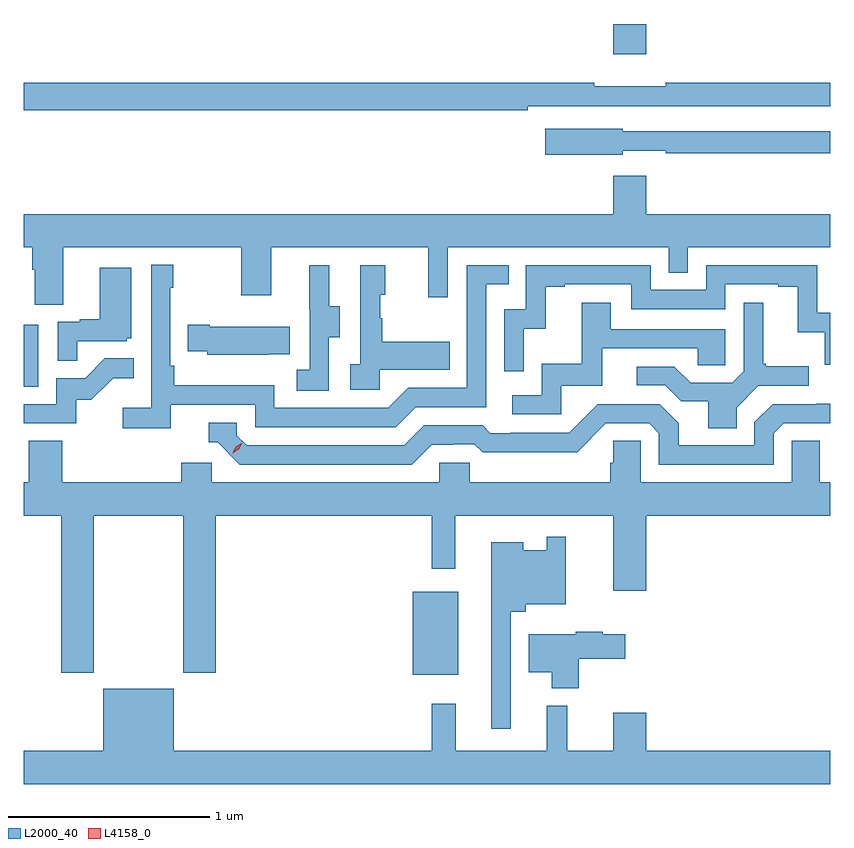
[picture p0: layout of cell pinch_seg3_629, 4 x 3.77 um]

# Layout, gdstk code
import gdstk
lib = gdstk.Library(unit=1e-6, precision=1e-09)
def R(c, l, rs):  # rectangles x0, y0, x1, y1
    for r in rs: c.add(gdstk.rectangle(r[:2], r[2:], *l))
def P(c, l, *ps):  # polygons
    for p in ps: c.add(gdstk.Polygon(p, *l))
L2000_40 = (2000, 40)
L4158_0 = (4158, 0)

pinch_seg3_629 = lib.new_cell('pinch_seg3_629')
R(pinch_seg3_629, L2000_40, [(1039.136,678.815,1039.363,679.225), (1037.207,680.244,1037.278,680.551), (1040.132,681.894,1040.296,682.043)])
P(pinch_seg3_629, L2000_40, [(1039.706,681.636),(1041.207,681.636),(1041.207,681.752),(1040.392,681.752),(1040.392,681.733),(1040.036,681.733),(1040.036,681.752),(1037.207,681.752),(1037.207,681.616),(1039.706,681.616)],
  [(1040.178,681.414),(1040.392,681.414),(1040.392,681.402),(1041.207,681.402),(1041.207,681.51),(1040.178,681.51),(1040.178,681.523),(1039.794,681.523),(1039.794,681.394),(1040.178,681.394)],
  [(1037.401,680.936),(1038.286,680.936),(1038.286,680.697),(1038.433,680.697),(1038.433,680.936),(1039.214,680.936),(1039.214,680.688),(1039.311,680.688),(1039.311,680.936),(1040.406,680.936),(1040.406,680.809),(1040.502,680.809),(1040.502,680.936),(1041.207,680.936),(1041.207,681.1),(1040.296,681.1),(1040.296,681.289),(1040.132,681.289),(1040.132,681.1),(1037.207,681.1),(1037.207,680.936),(1037.249,680.936),(1037.249,680.824),(1037.261,680.824),(1037.261,680.65),(1037.401,680.65)],
  [(1037.936,680.154),(1038.354,680.154),(1038.354,680.043),(1039.051,680.043),(1039.15,680.142),(1039.5,680.142),(1039.5,680.751),(1039.613,680.751),(1039.613,680.847),(1039.404,680.847),(1039.404,680.238),(1039.113,680.238),(1039.014,680.139),(1038.45,680.139),(1038.45,680.251),(1037.954,680.251),(1037.954,680.347),(1037.934,680.347),(1037.934,680.735),(1037.947,680.735),(1037.947,680.848),(1037.838,680.848),(1037.838,680.14),(1037.697,680.14),(1037.697,680.038),(1037.936,680.038)],
  [(1039.686,680.531),(1039.796,680.531),(1039.796,680.739),(1039.891,680.739),(1039.891,680.751),(1040.22,680.751),(1040.22,680.628),(1040.688,680.628),(1040.688,680.751),(1040.951,680.751),(1040.951,680.739),(1041.047,680.739),(1041.047,680.513),(1041.18,680.513),(1041.18,680.352),(1041.207,680.352),(1041.207,680.611),(1041.144,680.611),(1041.144,680.847),(1040.592,680.847),(1040.592,680.724),(1040.316,680.724),(1040.316,680.847),(1039.698,680.847),(1039.698,680.628),(1039.59,680.628),(1039.59,680.319),(1039.686,680.319)],
  [(1038.972,680.327),(1039.319,680.327),(1039.319,680.467),(1038.985,680.467),(1038.985,680.582),(1038.975,680.582),(1038.975,680.7),(1039,680.7),(1039,680.845),(1038.876,680.845),(1038.876,680.354),(1038.825,680.354),(1038.825,680.229),(1038.972,680.229)],
  [(1038.72,680.488),(1038.775,680.488),(1038.775,680.643),(1038.721,680.643),(1038.721,680.845),(1038.623,680.845),(1038.623,680.631),(1038.624,680.631),(1038.624,680.327),(1038.561,680.327),(1038.561,680.224),(1038.72,680.224)],
  [(1037.471,680.469),(1037.718,680.469),(1037.718,680.484),(1037.74,680.484),(1037.74,680.833),(1037.582,680.833),(1037.582,680.578),(1037.483,680.578),(1037.483,680.565),(1037.376,680.565),(1037.376,680.371),(1037.471,680.371)],
  [(1040.743,680.14),(1040.85,680.247),(1041.1,680.247),(1041.1,680.344),(1040.887,680.344),(1040.887,680.356),(1040.875,680.356),(1040.875,680.659),(1040.778,680.659),(1040.778,680.319),(1040.721,680.262),(1040.515,680.262),(1040.434,680.343),(1040.247,680.343),(1040.247,680.25),(1040.388,680.25),(1040.468,680.17),(1040.603,680.17),(1040.603,680.038),(1040.743,680.038)],
  [(1039.872,680.247),(1040.077,680.247),(1040.077,680.433),(1040.551,680.433),(1040.551,680.349),(1040.688,680.349),(1040.688,680.529),(1040.119,680.529),(1040.119,680.659),(1039.975,680.659),(1039.975,680.356),(1039.776,680.356),(1039.776,680.202),(1039.629,680.202),(1039.629,680.106),(1039.872,680.106)],
  [(1038.419,680.405),(1038.527,680.405),(1038.527,680.542),(1038.13,680.542),(1038.13,680.55),(1038.019,680.55),(1038.019,680.42),(1038.117,680.42),(1038.117,680.402),(1038.419,680.402)],
  [(1037.466,680.178),(1037.542,680.178),(1037.649,680.285),(1037.753,680.285),(1037.753,680.384),(1037.609,680.384),(1037.511,680.286),(1037.367,680.286),(1037.367,680.157),(1037.207,680.157),(1037.207,680.061),(1037.466,680.061)],
  [(1039.231,679.956),(1039.338,679.956),(1039.338,679.959),(1039.441,679.959),(1039.483,679.917),(1039.716,679.917),(1039.716,679.919),(1039.952,679.919),(1040.094,680.061),(1040.31,680.061),(1040.358,680.013),(1040.358,679.857),(1040.928,679.857),(1040.928,680.013),(1040.976,680.061),(1041.207,680.061),(1041.207,680.159),(1041.138,680.159),(1041.138,680.157),(1040.922,680.157),(1040.832,680.067),(1040.832,679.953),(1040.455,679.953),(1040.455,680.063),(1040.361,680.157),(1040.055,680.157),(1039.914,680.016),(1039.621,680.016),(1039.621,680.013),(1039.522,680.013),(1039.483,680.052),(1039.194,680.052),(1039.095,679.953),(1038.312,679.953),(1038.264,680.001),(1038.264,680.064),(1038.125,680.064),(1038.125,679.968),(1038.168,679.968),(1038.279,679.857),(1039.132,679.857)],
  [(1037.553,679.604),(1037.998,679.604),(1037.998,678.825),(1038.158,678.825),(1038.158,679.604),(1039.231,679.604),(1039.231,679.341),(1039.348,679.341),(1039.348,679.604),(1040.132,679.604),(1040.132,679.23),(1040.296,679.23),(1040.296,679.604),(1041.207,679.604),(1041.207,679.768),(1041.157,679.768),(1041.157,679.976),(1041.018,679.976),(1041.018,679.768),(1040.268,679.768),(1040.268,679.976),(1040.131,679.976),(1040.131,679.866),(1040.117,679.866),(1040.117,679.768),(1039.419,679.768),(1039.419,679.866),(1039.269,679.866),(1039.269,679.768),(1038.138,679.768),(1038.138,679.866),(1037.987,679.866),(1037.987,679.768),(1037.396,679.768),(1037.396,679.976),(1037.231,679.976),(1037.231,679.768),(1037.207,679.768),(1037.207,679.604),(1037.393,679.604),(1037.393,678.825),(1037.553,678.825)],
  [(1039.623,679.127),(1039.697,679.127),(1039.697,679.163),(1039.896,679.163),(1039.896,679.498),(1039.8,679.498),(1039.8,679.432),(1039.684,679.432),(1039.684,679.471),(1039.526,679.471),(1039.526,678.546),(1039.623,678.546)],
  [(1039.961,678.893),(1040.191,678.893),(1040.191,679.015),(1040.078,679.015),(1040.078,679.028),(1039.944,679.028),(1039.944,679.015),(1039.712,679.015),(1039.712,678.827),(1039.826,678.827),(1039.826,678.746),(1039.961,678.746)],
  [(1041.207,678.436),(1040.296,678.436),(1040.296,678.625),(1040.132,678.625),(1040.132,678.436),(1039.902,678.436),(1039.902,678.661),(1039.802,678.661),(1039.802,678.436),(1039.349,678.436),(1039.349,678.67),(1039.231,678.67),(1039.231,678.436),(1037.95,678.436),(1037.95,678.745),(1037.6,678.745),(1037.6,678.436),(1037.207,678.436),(1037.207,678.272),(1041.207,678.272)])
P(pinch_seg3_629, L4158_0, [(1038.243,679.913),(1038.243,679.913),(1038.259,679.946),(1038.29,679.965),(1038.29,679.965),(1038.29,679.965),(1038.274,679.932),(1038.243,679.913)])

lib.write_gds('pinch_seg3_629.gds')
